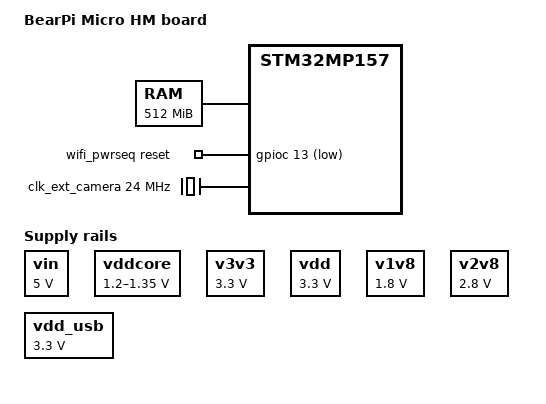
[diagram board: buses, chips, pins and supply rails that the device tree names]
// SPDX-License-Identifier: (GPL-2.0+ OR BSD-3-Clause)
/*
 * Device Tree Source for BearPi-Micro-HM board (STM32MP157A)
 *
 * Based on STM32CubeMX-generated configuration with BearPi hardware specifics.
 */

/dts-v1/;

#include <dt-bindings/gpio/gpio.h>
#include <dt-bindings/interrupt-controller/irq.h>
#include <dt-bindings/leds/common.h>
#include <dt-bindings/pinctrl/stm32-pinfunc.h>

#include "stm32mp157.dtsi"
#include "stm32mp15xxac-pinctrl.dtsi"

/ {
	model = "BearPi Micro HM board";
	compatible = "st,stm32mp157a-bearpi-micro-hm", "st,stm32mp157";

	aliases {
		serial0 = &uart4;
		serial1 = &uart5;
		serial2 = &usart2;
		mmc0 = &sdmmc1;
		mmc1 = &sdmmc2;
		mmc2 = &sdmmc3;
	};

	chosen {
		stdout-path = "serial0:115200n8";
	};

	memory@c0000000 {
		device_type = "memory";
		reg = <0xc0000000 0x20000000>;
	};

	reserved-memory {
		#address-cells = <1>;
		#size-cells = <1>;
		ranges;

		mcuram2: mcuram2@10000000 {
			compatible = "shared-dma-pool";
			reg = <0x10000000 0x40000>;
			no-map;
		};

		vdev0vring0: vdev0vring0@10040000 {
			compatible = "shared-dma-pool";
			reg = <0x10040000 0x1000>;
			no-map;
		};

		vdev0vring1: vdev0vring1@10041000 {
			compatible = "shared-dma-pool";
			reg = <0x10041000 0x1000>;
			no-map;
		};

		vdev0buffer: vdev0buffer@10042000 {
			compatible = "shared-dma-pool";
			reg = <0x10042000 0x4000>;
			no-map;
		};

		mcuram: mcuram@30000000 {
			compatible = "shared-dma-pool";
			reg = <0x30000000 0x40000>;
			no-map;
		};

		retram: retram@38000000 {
			compatible = "shared-dma-pool";
			reg = <0x38000000 0x10000>;
			no-map;
		};

		gpu_reserved: gpu@da000000 {
			reg = <0xda000000 0x4000000>;
			no-map;
		};

		optee_memory: optee@de000000 {
			reg = <0xde000000 0x02000000>;
			no-map;
		};
	};

	panel_backlight: panel-backlight {
		compatible = "gpio-backlight";
		gpios = <&gpioe 9 GPIO_ACTIVE_HIGH>;
		default-on;
		status = "disabled";
	};

	panel: panel {
		compatible = "panel-dpi";
		backlight = <&panel_backlight>;
		enable-gpios = <&gpiog 0 GPIO_ACTIVE_HIGH>;
		power-supply = <&v3v3>;
		status = "disabled";

		port {
			rgb_panel_in: endpoint {
				remote-endpoint = <&ltdc_ep0_out>;
			};
		};

		panel-timing {
			clock-frequency = <25000000>;
			hactive = <800>;
			vactive = <480>;
			hfront-porch = <210>;
			hback-porch = <46>;
			hsync-len = <1>;
			vfront-porch = <22>;
			vback-porch = <23>;
			vsync-len = <1>;
			hsync-active = <0>;
			vsync-active = <0>;
			de-active = <1>;
			pixelclk-active = <0>;
		};
	};

	led {
		compatible = "gpio-leds";

		led-red {
			label = "error";
			gpios = <&gpioa 13 GPIO_ACTIVE_LOW>;
			default-state = "off";
			status = "disabled";
		};
	};

	wifi_pwrseq: wifi-pwrseq {
		compatible = "mmc-pwrseq-simple";
		reset-gpios = <&gpioc 13 GPIO_ACTIVE_LOW>;
	};

	sound {
		compatible = "audio-graph-card";
		label = "BearPi-Micro-HM";
		mclk-fs = <256>;
		dai-format = "i2s";
		dais = <&sai2a_port>;
		status = "disabled";
	};

	usb_phy_tuning: usb-phy-tuning {
		st,hs-dc-level = <2>;
		st,fs-rftime-tuning;
		st,hs-rftime-reduction;
		st,hs-current-trim = <15>;
		st,hs-impedance-trim = <1>;
		st,squelch-level = <3>;
		st,hs-rx-offset = <2>;
		st,no-lsfs-sc;
	};

	vin: vin {
		compatible = "regulator-fixed";
		regulator-name = "vin";
		regulator-min-microvolt = <5000000>;
		regulator-max-microvolt = <5000000>;
		regulator-always-on;
	};

	vddcore: regulator-vddcore {
		compatible = "regulator-fixed";
		regulator-name = "vddcore";
		regulator-min-microvolt = <1200000>;
		regulator-max-microvolt = <1350000>;
		regulator-off-in-suspend;
		regulator-always-on;
	};

	v3v3: regulator-3p3v {
		compatible = "regulator-fixed";
		regulator-name = "v3v3";
		regulator-min-microvolt = <3300000>;
		regulator-max-microvolt = <3300000>;
		regulator-off-in-suspend;
		regulator-always-on;
	};

	vdd: regulator-vdd {
		compatible = "regulator-fixed";
		regulator-name = "vdd";
		regulator-min-microvolt = <3300000>;
		regulator-max-microvolt = <3300000>;
		regulator-off-in-suspend;
		regulator-always-on;
	};

	v1v8: regulator-1p8v {
		compatible = "regulator-fixed";
		regulator-name = "v1v8";
		regulator-min-microvolt = <1800000>;
		regulator-max-microvolt = <1800000>;
		regulator-off-in-suspend;
		regulator-always-on;
	};

	v2v8: regulator-v2v8 {
		compatible = "regulator-fixed";
		regulator-name = "v2v8";
		regulator-min-microvolt = <2800000>;
		regulator-max-microvolt = <2800000>;
		regulator-boot-on;
		regulator-always-on;
	};

	vdd_usb: regulator-vdd-usb {
		compatible = "regulator-fixed";
		regulator-name = "vdd_usb";
		regulator-min-microvolt = <3300000>;
		regulator-max-microvolt = <3300000>;
		startup-delay-us = <70000>;
		regulator-boot-on;
		regulator-pull-down;
	};

	clocks {
		clk_ext_camera: clk-ext-camera {
			#clock-cells = <0>;
			compatible = "fixed-clock";
			clock-frequency = <24000000>;
		};

#ifndef CONFIG_TFABOOT
		clk_lsi: clk-lsi {
			clock-frequency = <32000>;
		};
		clk_hsi: clk-hsi {
			clock-frequency = <64000000>;
		};
		clk_csi: clk-csi {
			clock-frequency = <4000000>;
		};
		clk_lse: clk-lse {
			clock-frequency = <32768>;
		};
		clk_hse: clk-hse {
			clock-frequency = <24000000>;
		};
#endif /*CONFIG_TFABOOT*/
	};
};

&pinctrl {
	u-boot,dm-pre-reloc;

	dac1_pins_bearpi: dac1-bearpi-0 {
		pins {
			pinmux = <STM32_PINMUX('A', 5, ANALOG)>; /* DAC1_OUT2 */
		};
	};

	dac1_sleep_pins_bearpi: dac1-sleep-bearpi-0 {
		pins {
			pinmux = <STM32_PINMUX('A', 5, ANALOG)>; /* DAC1_OUT2 */
		};
	};

	dcmi_pins_bearpi: dcmi-bearpi-0 {
		pins {
			pinmux = <STM32_PINMUX('A', 10, AF13)>, /* DCMI_D1 */
				 <STM32_PINMUX('B', 6, AF13)>, /* DCMI_D5 */
				 <STM32_PINMUX('B', 7, AF13)>, /* DCMI_VSYNC */
				 <STM32_PINMUX('B', 9, AF13)>, /* DCMI_D7 */
				 <STM32_PINMUX('C', 2, AF13)>, /* DCMI_PIXCLK */
				 <STM32_PINMUX('C', 6, AF13)>, /* DCMI_D0 */
				 <STM32_PINMUX('D', 9, AF13)>, /* DCMI_HSYNC */
				 <STM32_PINMUX('E', 0, AF13)>, /* DCMI_D2 */
				 <STM32_PINMUX('E', 1, AF13)>, /* DCMI_D3 */
				 <STM32_PINMUX('E', 11, AF13)>, /* DCMI_D4 */
				 <STM32_PINMUX('E', 13, AF13)>; /* DCMI_D6 */
			bias-disable;
		};
	};

	dcmi_sleep_pins_bearpi: dcmi-sleep-bearpi-0 {
		pins {
			pinmux = <STM32_PINMUX('A', 10, ANALOG)>,
				 <STM32_PINMUX('B', 6, ANALOG)>,
				 <STM32_PINMUX('B', 7, ANALOG)>,
				 <STM32_PINMUX('B', 9, ANALOG)>,
				 <STM32_PINMUX('C', 2, ANALOG)>,
				 <STM32_PINMUX('C', 6, ANALOG)>,
				 <STM32_PINMUX('D', 9, ANALOG)>,
				 <STM32_PINMUX('E', 0, ANALOG)>,
				 <STM32_PINMUX('E', 1, ANALOG)>,
				 <STM32_PINMUX('E', 11, ANALOG)>,
				 <STM32_PINMUX('E', 13, ANALOG)>;
		};
	};

	i2c1_pins_bearpi: i2c1-bearpi-0 {
		pins {
			pinmux = <STM32_PINMUX('F', 14, AF5)>, /* I2C1_SCL */
				 <STM32_PINMUX('F', 15, AF5)>; /* I2C1_SDA */
			bias-disable;
			drive-open-drain;
			slew-rate = <0>;
		};
	};

	i2c1_sleep_pins_bearpi: i2c1-sleep-bearpi-0 {
		pins {
			pinmux = <STM32_PINMUX('F', 14, ANALOG)>,
				 <STM32_PINMUX('F', 15, ANALOG)>;
		};
	};

	i2c2_pins_bearpi: i2c2-bearpi-0 {
		pins {
			pinmux = <STM32_PINMUX('H', 4, AF4)>, /* I2C2_SCL */
				 <STM32_PINMUX('H', 5, AF4)>; /* I2C2_SDA */
			bias-disable;
			drive-open-drain;
			slew-rate = <0>;
		};
	};

	i2c2_sleep_pins_bearpi: i2c2-sleep-bearpi-0 {
		pins {
			pinmux = <STM32_PINMUX('H', 4, ANALOG)>,
				 <STM32_PINMUX('H', 5, ANALOG)>;
		};
	};

	i2c5_pins_bearpi: i2c5-bearpi-0 {
		pins {
			pinmux = <STM32_PINMUX('A', 11, AF4)>, /* I2C5_SCL */
				 <STM32_PINMUX('A', 12, AF4)>; /* I2C5_SDA */
			bias-disable;
			drive-open-drain;
			slew-rate = <0>;
		};
	};

	i2c5_sleep_pins_bearpi: i2c5-sleep-bearpi-0 {
		pins {
			pinmux = <STM32_PINMUX('A', 11, ANALOG)>,
				 <STM32_PINMUX('A', 12, ANALOG)>;
		};
	};

	i2c6_pins_bearpi: i2c6-bearpi-0 {
		u-boot,dm-pre-reloc;
		pins {
			u-boot,dm-pre-reloc;
			pinmux = <STM32_PINMUX('D', 0, AF2)>, /* I2C6_SDA */
				 <STM32_PINMUX('D', 1, AF2)>; /* I2C6_SCL */
			bias-disable;
			drive-open-drain;
			slew-rate = <0>;
		};
	};

	i2c6_sleep_pins_bearpi: i2c6-sleep-bearpi-0 {
		u-boot,dm-pre-reloc;
		pins {
			u-boot,dm-pre-reloc;
			pinmux = <STM32_PINMUX('D', 0, ANALOG)>,
				 <STM32_PINMUX('D', 1, ANALOG)>;
		};
	};

	ltdc_pins_bearpi: ltdc-bearpi-0 {
		pins1 {
			pinmux = <STM32_PINMUX('A', 3, AF14)>, /* LTDC_B5 */
				 <STM32_PINMUX('B', 8, AF14)>, /* LTDC_B6 */
				 <STM32_PINMUX('D', 8, AF14)>, /* LTDC_B7 */
				 <STM32_PINMUX('D', 10, AF14)>, /* LTDC_B3 */
				 <STM32_PINMUX('E', 4, AF14)>, /* LTDC_B0 */
				 <STM32_PINMUX('E', 6, AF14)>, /* LTDC_G1 */
				 <STM32_PINMUX('E', 12, AF14)>, /* LTDC_B4 */
				 <STM32_PINMUX('E', 14, AF14)>, /* LTDC_G0 */
				 <STM32_PINMUX('E', 15, AF14)>, /* LTDC_R7 */
				 <STM32_PINMUX('F', 10, AF14)>, /* LTDC_DE */
				 <STM32_PINMUX('G', 10, AF14)>, /* LTDC_B2 */
				 <STM32_PINMUX('G', 12, AF14)>, /* LTDC_B1 */
				 <STM32_PINMUX('H', 2, AF14)>, /* LTDC_R0 */
				 <STM32_PINMUX('H', 3, AF14)>, /* LTDC_R1 */
				 <STM32_PINMUX('H', 8, AF14)>, /* LTDC_R2 */
				 <STM32_PINMUX('H', 9, AF14)>, /* LTDC_R3 */
				 <STM32_PINMUX('H', 10, AF14)>, /* LTDC_R4 */
				 <STM32_PINMUX('H', 11, AF14)>, /* LTDC_R5 */
				 <STM32_PINMUX('H', 12, AF14)>, /* LTDC_R6 */
				 <STM32_PINMUX('H', 13, AF14)>, /* LTDC_G2 */
				 <STM32_PINMUX('H', 14, AF14)>, /* LTDC_G3 */
				 <STM32_PINMUX('H', 15, AF14)>, /* LTDC_G4 */
				 <STM32_PINMUX('I', 0, AF14)>, /* LTDC_G5 */
				 <STM32_PINMUX('I', 1, AF14)>, /* LTDC_G6 */
				 <STM32_PINMUX('I', 2, AF14)>, /* LTDC_G7 */
				 <STM32_PINMUX('I', 9, AF14)>, /* LTDC_VSYNC */
				 <STM32_PINMUX('I', 10, AF14)>; /* LTDC_HSYNC */
			bias-disable;
			drive-push-pull;
			slew-rate = <0>;
		};
		pins2 {
			pinmux = <STM32_PINMUX('G', 7, AF14)>; /* LTDC_CLK */
			bias-disable;
			drive-push-pull;
			slew-rate = <1>;
		};
	};

	ltdc_sleep_pins_bearpi: ltdc-sleep-bearpi-0 {
		pins {
			pinmux = <STM32_PINMUX('A', 3, ANALOG)>,
				 <STM32_PINMUX('B', 8, ANALOG)>,
				 <STM32_PINMUX('D', 8, ANALOG)>,
				 <STM32_PINMUX('D', 10, ANALOG)>,
				 <STM32_PINMUX('E', 4, ANALOG)>,
				 <STM32_PINMUX('E', 6, ANALOG)>,
				 <STM32_PINMUX('E', 12, ANALOG)>,
				 <STM32_PINMUX('E', 14, ANALOG)>,
				 <STM32_PINMUX('E', 15, ANALOG)>,
				 <STM32_PINMUX('F', 10, ANALOG)>,
				 <STM32_PINMUX('G', 7, ANALOG)>,
				 <STM32_PINMUX('G', 10, ANALOG)>,
				 <STM32_PINMUX('G', 12, ANALOG)>,
				 <STM32_PINMUX('H', 2, ANALOG)>,
				 <STM32_PINMUX('H', 3, ANALOG)>,
				 <STM32_PINMUX('H', 8, ANALOG)>,
				 <STM32_PINMUX('H', 9, ANALOG)>,
				 <STM32_PINMUX('H', 10, ANALOG)>,
				 <STM32_PINMUX('H', 11, ANALOG)>,
				 <STM32_PINMUX('H', 12, ANALOG)>,
				 <STM32_PINMUX('H', 13, ANALOG)>,
				 <STM32_PINMUX('H', 14, ANALOG)>,
				 <STM32_PINMUX('H', 15, ANALOG)>,
				 <STM32_PINMUX('I', 0, ANALOG)>,
				 <STM32_PINMUX('I', 1, ANALOG)>,
				 <STM32_PINMUX('I', 2, ANALOG)>,
				 <STM32_PINMUX('I', 9, ANALOG)>,
				 <STM32_PINMUX('I', 10, ANALOG)>;
		};
	};

	sai2a_pins_bearpi: sai2a-bearpi-0 {
		pins {
			pinmux = <STM32_PINMUX('I', 4, AF10)>, /* SAI2_MCLK_A */
				 <STM32_PINMUX('I', 5, AF10)>, /* SAI2_SCK_A */
				 <STM32_PINMUX('I', 6, AF10)>, /* SAI2_SD_A */
				 <STM32_PINMUX('I', 7, AF10)>; /* SAI2_FS_A */
			bias-disable;
			drive-push-pull;
			slew-rate = <0>;
		};
	};

	sai2a_sleep_pins_bearpi: sai2a-sleep-bearpi-0 {
		pins {
			pinmux = <STM32_PINMUX('I', 4, ANALOG)>,
				 <STM32_PINMUX('I', 5, ANALOG)>,
				 <STM32_PINMUX('I', 6, ANALOG)>,
				 <STM32_PINMUX('I', 7, ANALOG)>;
		};
	};

	sai2b_pins_bearpi: sai2b-bearpi-0 {
		pins {
			pinmux = <STM32_PINMUX('F', 11, AF10)>; /* SAI2_SD_B */
			bias-disable;
			drive-push-pull;
			slew-rate = <0>;
		};
	};

	sai2b_sleep_pins_bearpi: sai2b-sleep-bearpi-0 {
		pins {
			pinmux = <STM32_PINMUX('F', 11, ANALOG)>;
		};
	};

	sdmmc1_pins_bearpi: sdmmc1-bearpi-0 {
		u-boot,dm-pre-reloc;
		pins1 {
			u-boot,dm-pre-reloc;
			pinmux = <STM32_PINMUX('C', 8, AF12)>, /* SDMMC1_D0 */
				 <STM32_PINMUX('C', 9, AF12)>, /* SDMMC1_D1 */
				 <STM32_PINMUX('C', 10, AF12)>, /* SDMMC1_D2 */
				 <STM32_PINMUX('C', 11, AF12)>, /* SDMMC1_D3 */
				 <STM32_PINMUX('D', 2, AF12)>; /* SDMMC1_CMD */
			bias-disable;
			drive-push-pull;
			slew-rate = <1>;
		};
		pins2 {
			u-boot,dm-pre-reloc;
			pinmux = <STM32_PINMUX('C', 12, AF12)>; /* SDMMC1_CK */
			bias-disable;
			drive-push-pull;
			slew-rate = <3>;
		};
	};

	sdmmc1_opendrain_pins_bearpi: sdmmc1-opendrain-bearpi-0 {
		u-boot,dm-pre-reloc;
		pins1 {
			u-boot,dm-pre-reloc;
			pinmux = <STM32_PINMUX('C', 8, AF12)>, /* SDMMC1_D0 */
				 <STM32_PINMUX('C', 9, AF12)>, /* SDMMC1_D1 */
				 <STM32_PINMUX('C', 10, AF12)>, /* SDMMC1_D2 */
				 <STM32_PINMUX('C', 11, AF12)>; /* SDMMC1_D3 */
			bias-disable;
			drive-push-pull;
			slew-rate = <1>;
		};
		pins2 {
			u-boot,dm-pre-reloc;
			pinmux = <STM32_PINMUX('C', 12, AF12)>; /* SDMMC1_CK */
			bias-disable;
			drive-push-pull;
			slew-rate = <3>;
		};
		pins3 {
			u-boot,dm-pre-reloc;
			pinmux = <STM32_PINMUX('D', 2, AF12)>; /* SDMMC1_CMD */
			bias-disable;
			drive-open-drain;
			slew-rate = <1>;
		};
	};

	sdmmc1_sleep_pins_bearpi: sdmmc1-sleep-bearpi-0 {
		u-boot,dm-pre-reloc;
		pins {
			u-boot,dm-pre-reloc;
			pinmux = <STM32_PINMUX('C', 8, ANALOG)>,
				 <STM32_PINMUX('C', 9, ANALOG)>,
				 <STM32_PINMUX('C', 10, ANALOG)>,
				 <STM32_PINMUX('C', 11, ANALOG)>,
				 <STM32_PINMUX('C', 12, ANALOG)>,
				 <STM32_PINMUX('D', 2, ANALOG)>;
		};
	};

	sdmmc2_pins_bearpi: sdmmc2-bearpi-0 {
		u-boot,dm-pre-reloc;
		pins1 {
			u-boot,dm-pre-reloc;
			pinmux = <STM32_PINMUX('A', 8, AF9)>, /* SDMMC2_D4 */
				 <STM32_PINMUX('A', 9, AF10)>, /* SDMMC2_D5 */
				 <STM32_PINMUX('B', 3, AF9)>, /* SDMMC2_D2 */
				 <STM32_PINMUX('B', 4, AF9)>, /* SDMMC2_D3 */
				 <STM32_PINMUX('B', 14, AF9)>, /* SDMMC2_D0 */
				 <STM32_PINMUX('B', 15, AF9)>, /* SDMMC2_D1 */
				 <STM32_PINMUX('D', 3, AF9)>, /* SDMMC2_D7 */
				 <STM32_PINMUX('E', 5, AF9)>, /* SDMMC2_D6 */
				 <STM32_PINMUX('G', 6, AF10)>; /* SDMMC2_CMD */
			bias-disable;
			drive-push-pull;
			slew-rate = <1>;
		};
		pins2 {
			u-boot,dm-pre-reloc;
			pinmux = <STM32_PINMUX('E', 3, AF9)>; /* SDMMC2_CK */
			bias-disable;
			drive-push-pull;
			slew-rate = <3>;
		};
	};

	sdmmc2_opendrain_pins_bearpi: sdmmc2-opendrain-bearpi-0 {
		u-boot,dm-pre-reloc;
		pins1 {
			u-boot,dm-pre-reloc;
			pinmux = <STM32_PINMUX('A', 8, AF9)>, /* SDMMC2_D4 */
				 <STM32_PINMUX('A', 9, AF10)>, /* SDMMC2_D5 */
				 <STM32_PINMUX('B', 3, AF9)>, /* SDMMC2_D2 */
				 <STM32_PINMUX('B', 4, AF9)>, /* SDMMC2_D3 */
				 <STM32_PINMUX('B', 14, AF9)>, /* SDMMC2_D0 */
				 <STM32_PINMUX('B', 15, AF9)>, /* SDMMC2_D1 */
				 <STM32_PINMUX('D', 3, AF9)>, /* SDMMC2_D7 */
				 <STM32_PINMUX('E', 5, AF9)>; /* SDMMC2_D6 */
			bias-disable;
			drive-push-pull;
			slew-rate = <1>;
		};
		pins2 {
			u-boot,dm-pre-reloc;
			pinmux = <STM32_PINMUX('E', 3, AF9)>; /* SDMMC2_CK */
			bias-disable;
			drive-push-pull;
			slew-rate = <3>;
		};
		pins3 {
			u-boot,dm-pre-reloc;
			pinmux = <STM32_PINMUX('G', 6, AF10)>; /* SDMMC2_CMD */
			bias-disable;
			drive-open-drain;
			slew-rate = <1>;
		};
	};

	sdmmc2_sleep_pins_bearpi: sdmmc2-sleep-bearpi-0 {
		u-boot,dm-pre-reloc;
		pins {
			u-boot,dm-pre-reloc;
			pinmux = <STM32_PINMUX('A', 8, ANALOG)>,
				 <STM32_PINMUX('A', 9, ANALOG)>,
				 <STM32_PINMUX('B', 3, ANALOG)>,
				 <STM32_PINMUX('B', 4, ANALOG)>,
				 <STM32_PINMUX('B', 14, ANALOG)>,
				 <STM32_PINMUX('B', 15, ANALOG)>,
				 <STM32_PINMUX('D', 3, ANALOG)>,
				 <STM32_PINMUX('E', 3, ANALOG)>,
				 <STM32_PINMUX('E', 5, ANALOG)>,
				 <STM32_PINMUX('G', 6, ANALOG)>;
		};
	};

	sdmmc3_pins_bearpi: sdmmc3-bearpi-0 {
		pins1 {
			pinmux = <STM32_PINMUX('D', 7, AF10)>, /* SDMMC3_D3 */
				 <STM32_PINMUX('F', 0, AF9)>, /* SDMMC3_D0 */
				 <STM32_PINMUX('F', 1, AF9)>, /* SDMMC3_CMD */
				 <STM32_PINMUX('F', 4, AF9)>, /* SDMMC3_D1 */
				 <STM32_PINMUX('F', 5, AF9)>; /* SDMMC3_D2 */
			bias-disable;
			drive-push-pull;
			slew-rate = <1>;
		};
		pins2 {
			pinmux = <STM32_PINMUX('G', 15, AF10)>; /* SDMMC3_CK */
			bias-disable;
			drive-push-pull;
			slew-rate = <3>;
		};
	};

	sdmmc3_opendrain_pins_bearpi: sdmmc3-opendrain-bearpi-0 {
		pins1 {
			pinmux = <STM32_PINMUX('D', 7, AF10)>, /* SDMMC3_D3 */
				 <STM32_PINMUX('F', 0, AF9)>, /* SDMMC3_D0 */
				 <STM32_PINMUX('F', 4, AF9)>, /* SDMMC3_D1 */
				 <STM32_PINMUX('F', 5, AF9)>; /* SDMMC3_D2 */
			bias-disable;
			drive-push-pull;
			slew-rate = <1>;
		};
		pins2 {
			pinmux = <STM32_PINMUX('F', 1, AF9)>; /* SDMMC3_CMD */
			bias-disable;
			drive-open-drain;
			slew-rate = <1>;
		};
		pins3 {
			pinmux = <STM32_PINMUX('G', 15, AF10)>; /* SDMMC3_CK */
			bias-disable;
			drive-push-pull;
			slew-rate = <3>;
		};
	};

	sdmmc3_sleep_pins_bearpi: sdmmc3-sleep-bearpi-0 {
		pins {
			pinmux = <STM32_PINMUX('D', 7, ANALOG)>,
				 <STM32_PINMUX('F', 0, ANALOG)>,
				 <STM32_PINMUX('F', 1, ANALOG)>,
				 <STM32_PINMUX('F', 4, ANALOG)>,
				 <STM32_PINMUX('F', 5, ANALOG)>,
				 <STM32_PINMUX('G', 15, ANALOG)>;
		};
	};

	spi1_pins_bearpi: spi1-bearpi-0 {
		pins {
			pinmux = <STM32_PINMUX('A', 15, AF5)>; /* SPI1_NSS */
			bias-disable;
			drive-push-pull;
			slew-rate = <1>;
		};
	};

	spi1_sleep_pins_bearpi: spi1-sleep-bearpi-0 {
		pins {
			pinmux = <STM32_PINMUX('A', 15, ANALOG)>;
		};
	};

	spi5_pins_bearpi: spi5-bearpi-0 {
		pins {
			pinmux = <STM32_PINMUX('F', 9, AF5)>, /* SPI5_MOSI */
				 <STM32_PINMUX('H', 6, AF5)>, /* SPI5_SCK */
				 <STM32_PINMUX('H', 7, AF5)>; /* SPI5_MISO */
			bias-disable;
			drive-push-pull;
			slew-rate = <1>;
		};
	};

	spi5_sleep_pins_bearpi: spi5-sleep-bearpi-0 {
		pins {
			pinmux = <STM32_PINMUX('F', 9, ANALOG)>,
				 <STM32_PINMUX('H', 6, ANALOG)>,
				 <STM32_PINMUX('H', 7, ANALOG)>;
		};
	};

	tim3_pwm_pins_bearpi: tim3-pwm-bearpi-0 {
		pins {
			pinmux = <STM32_PINMUX('A', 6, AF2)>; /* TIM3_CH1 */
			bias-disable;
			drive-push-pull;
			slew-rate = <0>;
		};
	};

	tim3_pwm_sleep_pins_bearpi: tim3-pwm-sleep-bearpi-0 {
		pins {
			pinmux = <STM32_PINMUX('A', 6, ANALOG)>;
		};
	};

	uart4_pins_bearpi: uart4-bearpi-0 {
		u-boot,dm-pre-reloc;
		pins1 {
			u-boot,dm-pre-reloc;
			pinmux = <STM32_PINMUX('B', 2, AF8)>; /* UART4_RX */
			bias-disable;
		};
		pins2 {
			u-boot,dm-pre-reloc;
			pinmux = <STM32_PINMUX('G', 11, AF6)>; /* UART4_TX */
			bias-disable;
			drive-push-pull;
			slew-rate = <0>;
		};
	};

	uart4_sleep_pins_bearpi: uart4-sleep-bearpi-0 {
		u-boot,dm-pre-reloc;
		pins {
			u-boot,dm-pre-reloc;
			pinmux = <STM32_PINMUX('B', 2, ANALOG)>,
				 <STM32_PINMUX('G', 11, ANALOG)>;
		};
	};

	uart5_pins_bearpi: uart5-bearpi-0 {
		u-boot,dm-pre-reloc;
		pins1 {
			u-boot,dm-pre-reloc;
			pinmux = <STM32_PINMUX('B', 13, AF14)>; /* UART5_TX */
			bias-disable;
			drive-push-pull;
			slew-rate = <0>;
		};
		pins2 {
			u-boot,dm-pre-reloc;
			pinmux = <STM32_PINMUX('B', 5, AF12)>; /* UART5_RX */
			bias-disable;
		};
	};

	uart5_sleep_pins_bearpi: uart5-sleep-bearpi-0 {
		u-boot,dm-pre-reloc;
		pins {
			u-boot,dm-pre-reloc;
			pinmux = <STM32_PINMUX('B', 5, ANALOG)>,
				 <STM32_PINMUX('B', 13, ANALOG)>;
		};
	};

	usart2_pins_bearpi: usart2-bearpi-0 {
		u-boot,dm-pre-reloc;
		pins1 {
			u-boot,dm-pre-reloc;
			pinmux = <STM32_PINMUX('D', 5, AF7)>; /* USART2_TX */
			bias-disable;
			drive-push-pull;
			slew-rate = <0>;
		};
		pins2 {
			u-boot,dm-pre-reloc;
			pinmux = <STM32_PINMUX('D', 6, AF7)>; /* USART2_RX */
			bias-disable;
		};
	};

	usart2_sleep_pins_bearpi: usart2-sleep-bearpi-0 {
		u-boot,dm-pre-reloc;
		pins {
			u-boot,dm-pre-reloc;
			pinmux = <STM32_PINMUX('D', 5, ANALOG)>,
				 <STM32_PINMUX('D', 6, ANALOG)>;
		};
	};
};

&pinctrl_z {
	u-boot,dm-pre-reloc;

	i2c4_pins_z_bearpi: i2c4-z-bearpi-0 {
		u-boot,dm-pre-reloc;
		pins {
			u-boot,dm-pre-reloc;
			pinmux = <STM32_PINMUX('Z', 4, AF6)>, /* I2C4_SCL */
				 <STM32_PINMUX('Z', 5, AF6)>; /* I2C4_SDA */
			bias-disable;
			drive-open-drain;
			slew-rate = <0>;
		};
	};

	i2c4_sleep_pins_z_bearpi: i2c4-sleep-z-bearpi-0 {
		u-boot,dm-pre-reloc;
		pins {
			u-boot,dm-pre-reloc;
			pinmux = <STM32_PINMUX('Z', 4, ANALOG)>,
				 <STM32_PINMUX('Z', 5, ANALOG)>;
		};
	};

	spi1_pins_z_bearpi: spi1-z-bearpi-0 {
		pins {
			pinmux = <STM32_PINMUX('Z', 0, AF5)>, /* SPI1_SCK */
				 <STM32_PINMUX('Z', 1, AF5)>, /* SPI1_MISO */
				 <STM32_PINMUX('Z', 2, AF5)>; /* SPI1_MOSI */
			bias-disable;
			drive-push-pull;
			slew-rate = <1>;
		};
	};

	spi1_sleep_pins_z_bearpi: spi1-sleep-z-bearpi-0 {
		pins {
			pinmux = <STM32_PINMUX('Z', 0, ANALOG)>,
				 <STM32_PINMUX('Z', 1, ANALOG)>,
				 <STM32_PINMUX('Z', 2, ANALOG)>;
		};
	};
};

&m4_rproc {
	mboxes = <&ipcc 0>, <&ipcc 1>, <&ipcc 2>;
	mbox-names = "vq0", "vq1", "shutdown";
	status = "disabled";
};

&adc {
	status = "disabled";
};

&bsec {
	status = "disabled";
};

&crc1 {
	status = "disabled";
};

&cpu0 {
	cpu-supply = <&vddcore>;
};

&cpu1 {
	cpu-supply = <&vddcore>;
};

&dac {
	pinctrl-names = "default", "sleep";
	pinctrl-0 = <&dac1_pins_bearpi>;
	pinctrl-1 = <&dac1_sleep_pins_bearpi>;
	status = "disabled";
};

&dcmi {
	pinctrl-names = "default", "sleep";
	pinctrl-0 = <&dcmi_pins_bearpi>;
	pinctrl-1 = <&dcmi_sleep_pins_bearpi>;
	status = "disabled";

	port {
		dcmi_0: endpoint {
			remote-endpoint = <&ov5640_0>;
			bus-width = <8>;
			hsync-active = <0>;
			vsync-active = <0>;
			pclk-sample = <1>;
			pclk-max-frequency = <77000000>;
		};
	};
};

&dma1 {
  status = "disabled";
 };

 &dma2 {
  status = "disabled";
 };

&dmamux1 {
	dma-masters = <&dma1 &dma2>;
	dma-channels = <16>;
	status = "disabled";
};

&dsi {
	status = "disabled";
};

&dts {
	status = "disabled";
};

&gpu {
	contiguous-area = <&gpu_reserved>;
	status = "disabled";
};

&hash1 {
  status = "disabled";
 };

&i2c1 {
	pinctrl-names = "default", "sleep";
	pinctrl-0 = <&i2c1_pins_bearpi>;
	pinctrl-1 = <&i2c1_sleep_pins_bearpi>;
	i2c-scl-rising-time-ns = <100>;
	i2c-scl-falling-time-ns = <7>;
	/delete-property/dmas;
	/delete-property/dma-names;
	status = "disabled";
};

&i2c2 {
	pinctrl-names = "default", "sleep";
	pinctrl-0 = <&i2c2_pins_bearpi>;
	pinctrl-1 = <&i2c2_sleep_pins_bearpi>;
	i2c-scl-rising-time-ns = <100>;
	i2c-scl-falling-time-ns = <7>;
	/delete-property/dmas;
	/delete-property/dma-names;
	status = "disabled";

	touchscreen@14 {
		compatible = "goodix,gt911";
		reg = <0x14>;
		irq-gpios = <&gpiog 8 (GPIO_ACTIVE_HIGH | GPIO_PULL_UP)>;
		interrupt-parent = <&gpiog>;
		interrupts = <8 IRQ_TYPE_EDGE_FALLING>;
		reset-gpios = <&gpioe 7 GPIO_ACTIVE_HIGH>;
		status = "disabled";
	};
};

&i2c4 {
	pinctrl-names = "default", "sleep";
	pinctrl-0 = <&i2c4_pins_z_bearpi>;
	pinctrl-1 = <&i2c4_sleep_pins_z_bearpi>;
	status = "disabled";
};

&i2c5 {
	pinctrl-names = "default", "sleep";
	pinctrl-0 = <&i2c5_pins_bearpi>;
	pinctrl-1 = <&i2c5_sleep_pins_bearpi>;
	i2c-scl-rising-time-ns = <185>;
	i2c-scl-falling-time-ns = <20>;
	/delete-property/dmas;
	/delete-property/dma-names;
	status = "disabled";

	wm8988: wm8988@1a {
		compatible = "wlf,wm8978";
		#sound-dai-cells = <0>;
		reg = <0x1a>;
		status = "disabled";
		wlf,shared-lrclk;
		wlf,double-dai;

		port {
			#address-cells = <1>;
			#size-cells = <0>;

			wm8988_tx_endpoint: endpoint@0 {
				reg = <0x0>;
				remote-endpoint = <&sai2a_endpoint>;
				frame-master;
				bitclock-master;
			};

			wm8988_rx_endpoint: endpoint@1 {
				reg = <0x1>;
				remote-endpoint = <&sai2b_endpoint>;
				frame-master;
				bitclock-master;
			};
		};
	};
};

&i2c6 {
	pinctrl-names = "default", "sleep";
	pinctrl-0 = <&i2c6_pins_bearpi>;
	pinctrl-1 = <&i2c6_sleep_pins_bearpi>;
	i2c-scl-rising-time-ns = <185>;
	i2c-scl-falling-time-ns = <20>;
	/delete-property/dmas;
	/delete-property/dma-names;
	status = "disabled";

	ov5640: camera@3c {
		compatible = "ovti,ov5640";
		reg = <0x3c>;
		clocks = <&clk_ext_camera>;
		clock-names = "xclk";
		DOVDD-supply = <&v2v8>;
		powerdown-gpios = <&gpioz 6 (GPIO_ACTIVE_HIGH | GPIO_PUSH_PULL)>;
		reset-gpios = <&gpiod 14 (GPIO_ACTIVE_LOW | GPIO_PUSH_PULL)>;
		rotation = <180>;
		status = "disabled";

		port {
			ov5640_0: endpoint {
				remote-endpoint = <&dcmi_0>;
				bus-width = <8>;
				data-shift = <2>; /* lines 9:2 are used */
				hsync-active = <0>;
				vsync-active = <0>;
				pclk-sample = <1>;
				pclk-max-frequency = <77000000>;
			};
		};
	};
};

&ipcc {
	status = "disabled";
};

&iwdg2 {
	timeout-sec = <32>;
	status = "disabled";
};

&ltdc {
	pinctrl-names = "default", "sleep";
	pinctrl-0 = <&ltdc_pins_bearpi>;
	pinctrl-1 = <&ltdc_sleep_pins_bearpi>;
	status = "disabled";

	port {
		#address-cells = <1>;
		#size-cells = <0>;

		ltdc_ep0_out: endpoint@0 {
			reg = <0>;
			remote-endpoint = <&rgb_panel_in>;
		};
	};
};

&mdma1 {
	status = "disabled";
};

&pwr_regulators {
	vdd-supply = <&vdd>;
	vdd_3v3_usbfs-supply = <&vdd_usb>;
};

&rcc {
	status = "disabled";
};

&rng1 {
	status = "disabled";
};

&rtc {
	status = "disabled";
};

&sai2 {
	pinctrl-names = "default", "sleep";
	pinctrl-0 = <&sai2a_pins_bearpi>, <&sai2b_pins_bearpi>;
	pinctrl-1 = <&sai2a_sleep_pins_bearpi>, <&sai2b_sleep_pins_bearpi>;
	clocks = <&rcc SAI2>, <&rcc PLL3_Q>, <&rcc PLL3_R>;
	clock-names = "pclk", "x8k", "x11k";
	status = "disabled";

	sai2a: audio-controller@4400b004 {
		#clock-cells = <0>;
		#sound-dai-cells = <0>;
		dma-names = "tx";
		clocks = <&rcc SAI2_K>;
		clock-names = "sai_ck";
		status = "disabled";

		sai2a_port: port {
			sai2a_endpoint: endpoint {
				remote-endpoint = <&wm8988_tx_endpoint>;
				format = "i2s";
				mclk-fs = <256>;
				dai-tdm-slot-num = <2>;
				dai-tdm-slot-width = <32>;
			};
		};
	};

	sai2b: audio-controller@4400b024 {
		dma-names = "rx";
		st,sync = <&sai2a 2>;
		clocks = <&rcc SAI2_K>, <&sai2a>;
		clock-names = "sai_ck", "MCLK";
		status = "disabled";

		sai2b_port: port {
			sai2b_endpoint: endpoint {
				remote-endpoint = <&wm8988_rx_endpoint>;
				format = "i2s";
				mclk-fs = <256>;
				dai-tdm-slot-num = <2>;
				dai-tdm-slot-width = <32>;
			};
		};
	};
};

&sdmmc1 {
	pinctrl-names = "default", "opendrain", "sleep";
	pinctrl-0 = <&sdmmc1_pins_bearpi>;
	pinctrl-1 = <&sdmmc1_opendrain_pins_bearpi>;
	pinctrl-2 = <&sdmmc1_sleep_pins_bearpi>;
	broken-cd;
	disable-wp;
	st,neg-edge;
	bus-width = <4>;
	vmmc-supply = <&v3v3>;
	vqmmc-supply = <&v3v3>;
	status = "disabled";
};

&sdmmc2 {
	pinctrl-names = "default", "opendrain", "sleep";
	pinctrl-0 = <&sdmmc2_pins_bearpi>;
	pinctrl-1 = <&sdmmc2_opendrain_pins_bearpi>;
	pinctrl-2 = <&sdmmc2_sleep_pins_bearpi>;
	non-removable;
	no-sd;
	no-sdio;
	st,neg-edge;
	bus-width = <8>;
	vmmc-supply = <&v3v3>;
	vqmmc-supply = <&vdd>;
	mmc-ddr-3_3v;
	status = "disabled";
};

&sdmmc3 {
	pinctrl-names = "default", "opendrain", "sleep";
	pinctrl-0 = <&sdmmc3_pins_bearpi>;
	pinctrl-1 = <&sdmmc3_opendrain_pins_bearpi>;
	pinctrl-2 = <&sdmmc3_sleep_pins_bearpi>;
	non-removable;
	st,neg-edge;
	bus-width = <4>;
	vmmc-supply = <&v3v3>;
	mmc-pwrseq = <&wifi_pwrseq>;
	keep-power-in-suspend;
	max-frequency = <50000000>;
	status = "disabled";

	hi3881_wifi@0 {
		compatible = "oal_sdio";
	};
};

&spi1 {
	pinctrl-names = "default", "sleep";
	pinctrl-0 = <&spi1_pins_bearpi &spi1_pins_z_bearpi>;
	pinctrl-1 = <&spi1_sleep_pins_bearpi &spi1_sleep_pins_z_bearpi>;
	status = "disabled";
};

&spi5 {
  pinctrl-names = "default", "sleep";
  pinctrl-0 = <&spi5_pins_bearpi>;
  pinctrl-1 = <&spi5_sleep_pins_bearpi>;
  status = "disabled";
 };

&tamp {
	status = "disabled";
};

&timers3 {
	status = "disabled";

	pwm {
		pinctrl-names = "default", "sleep";
		pinctrl-0 = <&tim3_pwm_pins_bearpi>;
		pinctrl-1 = <&tim3_pwm_sleep_pins_bearpi>;
		status = "disabled";
	};
};

&uart4 {
	pinctrl-names = "default", "sleep";
	pinctrl-0 = <&uart4_pins_bearpi>;
	pinctrl-1 = <&uart4_sleep_pins_bearpi>;
	/delete-property/dmas;
	/delete-property/dma-names;
	status = "disabled";
};

&uart5 {
	pinctrl-names = "default", "sleep";
	pinctrl-0 = <&uart5_pins_bearpi>;
	pinctrl-1 = <&uart5_sleep_pins_bearpi>;
	/delete-property/dmas;
	/delete-property/dma-names;
	status = "disabled";
};

&usart2 {
	pinctrl-names = "default", "sleep";
	pinctrl-0 = <&usart2_pins_bearpi>;
	pinctrl-1 = <&usart2_sleep_pins_bearpi>;
	status = "disabled";
};

&usbh_ehci {
	phys = <&usbphyc_port0>;
	status = "disabled";
};

&usbh_ohci {
	status = "disabled";
};

&usbotg_hs {
	status = "disabled";
};

&usbphyc {
	status = "disabled";
};

&usbphyc_port0 {
	phy-supply = <&vdd_usb>;
	st,phy-tuning = <&usb_phy_tuning>;
	status = "disabled";
};

&usbphyc_port1 {
	phy-supply = <&vdd_usb>;
	st,phy-tuning = <&usb_phy_tuning>;
	status = "disabled";
};

&vrefbuf {
	regulator-min-microvolt = <2500000>;
	regulator-max-microvolt = <2500000>;
	vdda-supply = <&vdd>;
	status = "disabled";
};
